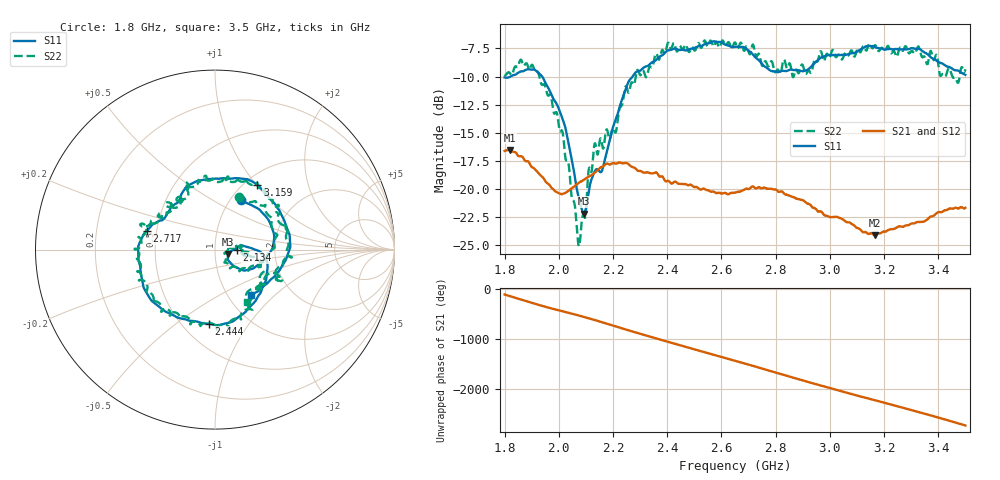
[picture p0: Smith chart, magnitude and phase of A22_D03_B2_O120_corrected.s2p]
! Created with skrf 1.9.0 (http://scikit-rf.org).
# Hz S RI R 50.0
!freq ReS11 ImS11 ReS21 ImS21 ReS12 ImS12 ReS22 ImS22
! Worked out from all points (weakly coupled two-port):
!   1601 points, 1.8 GHz to 3.5 GHz, reference 50 ohm
!   highest |S21| = -16.54 dB at 1.819 GHz (marker M1); lowest = -24.1 dB at 3.165 GHz (marker M2)
!   lowest |S11| = -22.2 dB at 2.093 GHz (marker M3), VSWR 1.17, Z = 57.9 - j2.78 ohm
!   |S11| at or under -10 dB: start of sweep to 1.822 GHz; 1.938 GHz to 2.272 GHz (333.8 MHz wide, 15.9 % of centre)
!   |S22| runs from -25.1 to -6.8 dB; largest |S21 - S12| = 0.0025
!   S11 on the Smith chart (normalised r, x): 1.8 GHz: 1.12, +0.69; 2.134 GHz: 1.27, -0.00; 2.444 GHz: 0.67, -0.67; 2.717 GHz: 0.44, +0.11; 3.159 GHz: 1.14, +1.01; 3.5 GHz: 1.27, -0.72
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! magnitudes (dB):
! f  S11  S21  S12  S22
! 1.8 GHz  -10.1  -16.6  -16.6  -9.8
! 1.819 GHz  -10.0  -16.5  -16.6  -9.7
! 1.903 GHz  -9.4  -18.1  -18.1  -9.0
! 1.968 GHz  -11.3  -19.7  -19.8  -11.6
! 2.015 GHz  -13.8  -20.5  -20.5  -15.1
! 2.071 GHz  -20.5  -19.5  -19.6  -24.8
! 2.084 GHz  -21.7  -19.4  -19.3  -23.1
! 2.093 GHz  -22.2  -19.2  -19.2  -22.4
! 2.134 GHz  -18.4  -18.5  -18.5  -15.9
! 2.161 GHz  -18.3  -18.0  -18.0  -16.3
! 2.259 GHz  -10.4  -17.8  -17.9  -11.4
! 2.367 GHz  -8.3  -18.8  -18.7  -8.4
! 2.444 GHz  -7.6  -19.6  -19.6  -7.3
! 2.65 GHz  -7.4  -20.3  -20.3  -7.0
! 2.717 GHz  -8.1  -19.8  -19.8  -7.2
! 2.802 GHz  -9.6  -20.1  -20.1  -9.6
! 2.934 GHz  -9.0  -21.6  -21.6  -9.5
! 3.159 GHz  -7.3  -24.0  -24.0  -7.5
! 3.165 GHz  -7.3  -24.1  -24.1  -7.2
! 3.217 GHz  -7.5  -23.7  -23.6  -7.4
! 3.468 GHz  -9.5  -21.7  -21.7  -10.4
! 3.5 GHz  -9.9  -21.7  -21.7  -9.3
